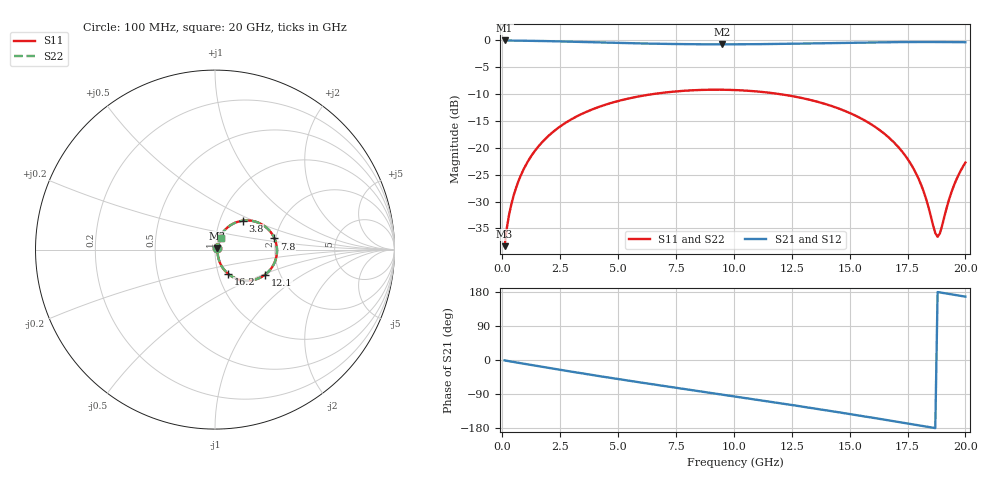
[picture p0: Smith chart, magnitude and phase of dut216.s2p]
! Touchstone file exported from HFSS 2026.1.0
!  File:  C:/ffzhzh/LocalFiles/Ansys_Project_Files/temp_train_TSV_RDL_216_1783062628_36532.aedt
!  Generated:  03:19:18 PM Jul  3, 2026
!  Design:  TSV_RDL
!  Project:  temp_train_TSV_RDL_216_1783062628_36532
! Variables:
!  h_bsmrdl = 4.54um
!  h_ox = 20um
!  h_rdl = 5um
!  h_sub = 50.35um
!  h_tmrdl = 5.47um
!  h_tsv = 50.35um
!  h_via = 3um
!  l_bsmrdl = 615.63um
!  l_sub = 3514.92um
!  l_tmrdl = 274.07um
!  m_sub = 200um
!  pitch = 44.79um
!  r_tsv = 10.1um
!  s_tmrdl = 10um
!  w_bsmrdl = 27.27um
!  w_sub = 500um
!  w_tmrdl = 29.98um
!  x_tsv_center1 = 289.06um
!  x_tsv_center2 = 931.96um
!  x_tsv_center3 = 1236.01um
!  x_tsv_center4 = 1878.91um
!  x_tsv_center5 = 2182.96um
!  x_tsv_center6 = 2825.86um
# GHz S MA R 50.000000
! Terminal data exported
! Port[1] = TM_RDL1_1_T1
! Port[2] = TM_RDL5_1_T1
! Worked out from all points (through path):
!   200 points, 100 MHz to 20 GHz, reference 50 ohm
!   highest |S21| = -0.08 dB at 100 MHz (marker M1); lowest = -0.8 dB at 9.5 GHz (marker M2)
!   group delay of S21, straight-line fit = 26.2 ps
!   lowest |S11| = -38.3 dB at 100 MHz (marker M3), VSWR 1.02, Z = 50.9 + j0.788 ohm
!   |S11| at or under -10 dB: start of sweep to 6.569 GHz; 11.91 GHz to end of sweep
!   |S22| runs from -38.3 to -9.2 dB; largest |S21 - S12| = 8.2e-14
!   S11 on the Smith chart (normalised r, x): 100 MHz: 1.02, +0.02; 3.8 GHz: 1.28, +0.43; 7.8 GHz: 1.97, +0.28; 12.1 GHz: 1.67, -0.52; 16.2 GHz: 1.11, -0.30; 20 GHz: 1.06, +0.14
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0.1  0.01218 39.4  0.9907 -1.1  0.9907 -1.1  0.01218 39.4
! Gamma 0 0 0 0
! Port Impedance 50 0 50 0
0.3  0.02432 60.0  0.9888 -3.3  0.9888 -3.3  0.02432 60.0
0.5  0.03658 65.8  0.9875 -5.3  0.9875 -5.3  0.03658 65.8
1.1  0.07423 68.2  0.984 -11.6  0.984 -11.6  0.07423 68.2
2.1  0.135 61.6  0.9752 -21.8  0.9752 -21.8  0.135 61.6
3.5  0.2091 49.0  0.9586 -35.8  0.9586 -35.8  0.2091 49.0
3.8  0.223 46.3  0.9548 -38.7  0.9548 -38.7  0.223 46.3
6.8  0.3211 19.3  0.9224 -66.9  0.9224 -66.9  0.3211 19.4
7.8  0.3372 10.6  0.916 -76.0  0.916 -76.0  0.3372 10.6
9.5  0.3454 -4.0  0.9119 -91.3  0.9119 -91.3  0.3454 -4.0
10.1  0.3427 -9.2  0.9124 -96.7  0.9124 -96.7  0.3427 -9.2
12.1  0.312 -26.6  0.9211 -115.0  0.9211 -115.0  0.312 -26.6
13.4  0.2745 -38.0  0.9307 -127.2  0.9307 -127.2  0.2745 -38.0
16.2  0.151 -61.9  0.9523 -154.4  0.9523 -154.4  0.151 -61.9
16.7  0.124 -65.5  0.955 -159.4  0.955 -159.4  0.124 -65.5
17.9  0.05596 -68.8  0.9586 -171.5  0.9586 -171.5  0.05596 -68.8
18.2  0.03904 -64.8  0.9588 -174.6  0.9588 -174.6  0.03903 -64.8
18.7  0.0161 -24.5  0.9585 -179.7  0.9585 -179.7  0.01606 -24.6
18.8  0.0149 -3.6  0.9583 179.3  0.9583 179.3  0.01484 -3.6
18.9  0.01602 17.4  0.9581 178.3  0.9581 178.3  0.01596 17.5
19.5  0.04435 60.3  0.9562 172.2  0.9562 172.2  0.04431 60.4
20  0.07278 63.2  0.9537 167.2  0.9537 167.2  0.07275 63.3
